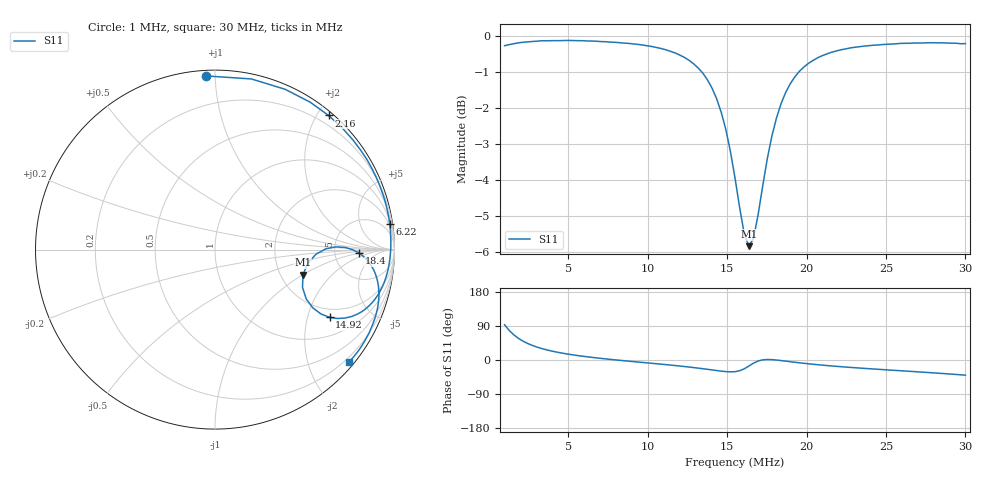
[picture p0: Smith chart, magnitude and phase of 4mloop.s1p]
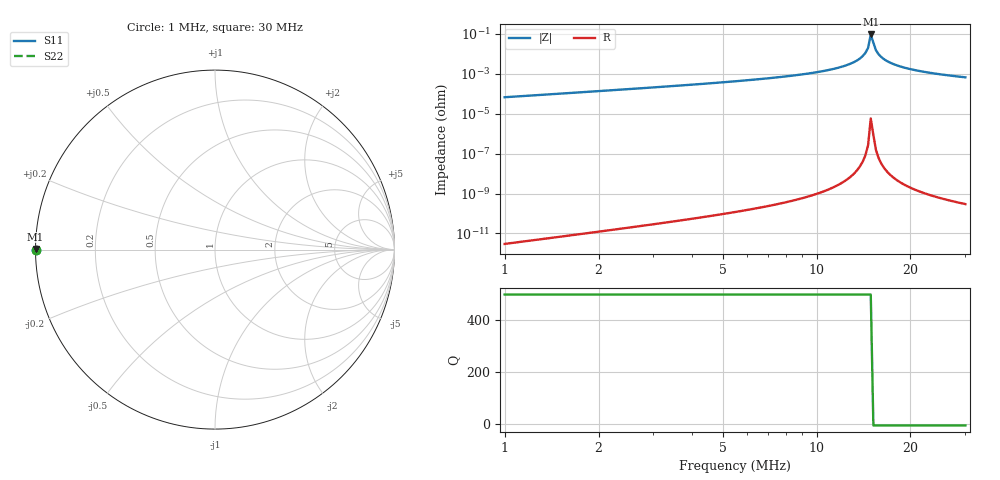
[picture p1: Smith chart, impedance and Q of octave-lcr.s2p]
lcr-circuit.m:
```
[type,fa1,s1,R1,c] = read_touchstone("C:\\projects\\sNp\\4mloop.s1p")
% a1 = s2a(s1,R)

figure;
plot(fa1,squeeze(abs(s1(1,1,:))));
hold on;
grid on;
ylim([0,1]);
legend('s11');


R2 = 1500;

LCR = 1e6;
F = 15e6;

C = 1/(2*pi*F*sqrt(LCR));
L = sqrt(LCR)/(2*pi*F);

printf("C = %e, L = %e\n",C,L);

span = .01e6;
cf = 15e6;
f1= cf - span/2;
f2 = cf + span/2;

% fa2 = linspace(f1,f2,201);
fa2 = fa1;

% capacitor
a1 = a_series(1./(2j*pi*fa2*C));
a2 = a_shunt(1./(2j*pi*fa2*C));

% inductor
a3 = a_series(2j*pi*fa2*L);
a4 = a_shunt(2j*pi*fa2*L);

% resistor
a5 = a_series(1/R2*ones(size(fa2)));
a6 = a_shunt(1/R2*ones(size(fa2)));


a7 = a_mul(a2, a4, a6);

s2 = a2s(a7);

figure;
plot(fa2,squeeze(abs(s2(1,1,:))));
hold on;
grid on;
plot(fa2,squeeze(abs(s2(2,1,:))),'r--');
ylim([0,1]);
legend('s11','s21');

write_touchstone('s',fa2,s2,"octave-lcr.s2p");
```
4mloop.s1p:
! File created by NanoVNA MOD v3.0 by alex_m https://www.rtl-sdr.com/forum/viewtopic.php?f=4&t=4881
! Start 1000000Hz  Stop 30000000Hz  Points 101
# Hz S MA R 50
!S - Parameter data, F S11
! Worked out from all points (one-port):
!   101 points, 1 MHz to 30 MHz, reference 50 ohm
!   lowest |S11| = -5.8 dB at 16.37 MHz (marker M1), VSWR 3.08, Z = 132 - j50.2 ohm
!   |S11| at or under -10 dB: nowhere
!   S11 on the Smith chart (normalised r, x): 1 MHz: 0.03, +0.95; 2.16 MHz: 0.06, +2.16; 6.22 MHz: 2, +14; 14.92 MHz: 1.65, -2.76; 18.4 MHz: 9.12, -1.07; 30 MHz: 0.11, -2.74
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1000000  0.9688 92.9
1580000  0.9749 66.4
2160000  0.9794 49.7
3610000  0.9841 27.1
6220000  0.9834 8.3
1.086e7  0.96 -11.1
1.318e7  0.9021 -21.4
1.492e7  0.7413 -30.6
1.637e7  0.51 -16.0
1.724e7  0.6176 0.4
1.84e7  0.8049 -1.5
2.043e7  0.9246 -11.3
2.478e7  0.9724 -25.3
3e7  0.9753 -40.0
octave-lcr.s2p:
#  Hz  S  RI  R  50
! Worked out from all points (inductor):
!   101 points, 1 MHz to 30 MHz, reference 50 ohm
!   read as one part in shunt: L = 10.6 pH near 1 MHz
!   highest |Z| = 93.5 mohm at 14.92 MHz (marker M1)
!   self-resonance near 15.13 MHz
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1000000  -1 2.68e-06  7.29e-12 2.68e-06  7.29e-12 2.68e-06  -1 2.68e-06
1.231e7  -1 0.000101  1.03e-08 0.000101  1.03e-08 0.000101  -1 0.000101
1.347e7  -1 0.000186  3.5e-08 0.000186  3.5e-08 0.000186  -1 0.000186
1.434e7  -1 0.000444  2.01e-07 0.000444  2.01e-07 0.000444  -1 0.000444
1.463e7  -1 0.000801  6.52e-07 0.000801  6.52e-07 0.000801  -1 0.000801
1.492e7  -1 0.00374  1.42e-05 0.00374  1.42e-05 0.00374  -1 0.00374
1.55e7  -1 -0.00061  3.78e-07 -0.00061  3.78e-07 -0.00061  -1 -0.00061
1.608e7  -1 -0.000287  8.4e-08 -0.000287  8.4e-08 -0.000287  -1 -0.000287
1.666e7  -1 -0.00019  3.68e-08 -0.00019  3.68e-08 -0.00019  -1 -0.00019
1.84e7  -1 -9.72e-05  9.61e-09 -9.72e-05  9.61e-09 -9.72e-05  -1 -9.72e-05
3e7  -1 -2.67e-05  7.23e-10 -2.67e-05  7.23e-10 -2.67e-05  -1 -2.67e-05
